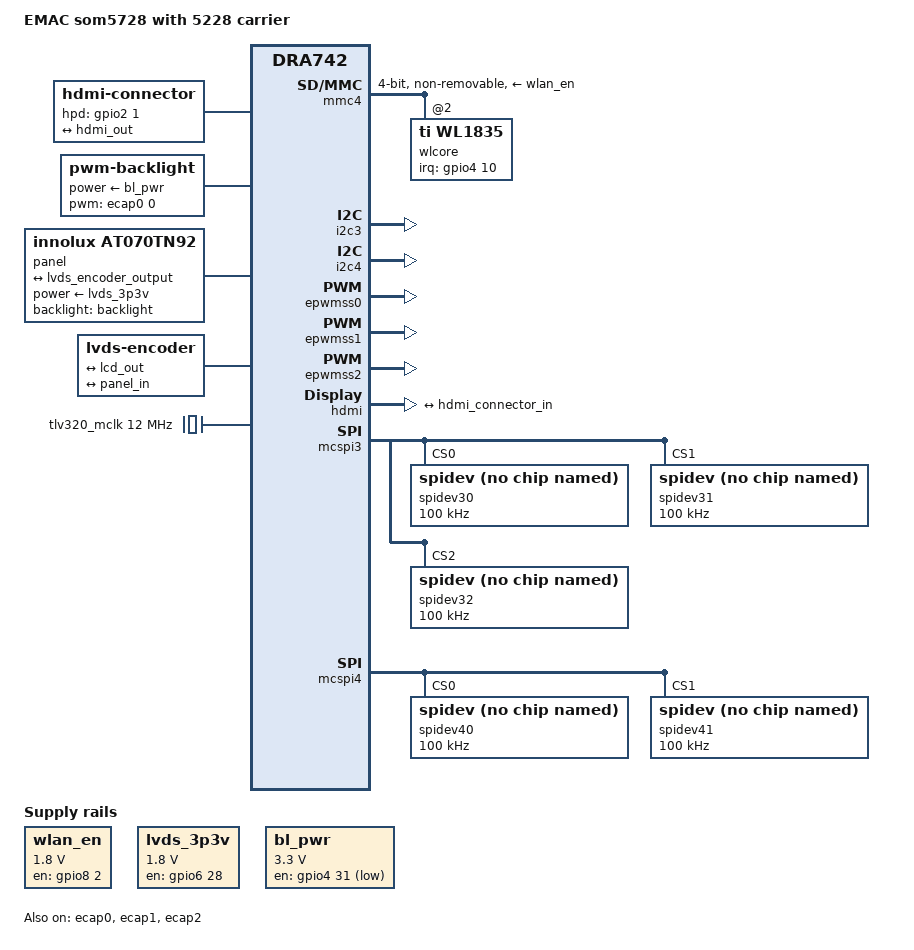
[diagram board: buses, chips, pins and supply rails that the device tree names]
/*
 * Copyright (C) 2014-2016 Texas Instruments Incorporated - http://www.ti.com/
 *
 * This program is free software; you can redistribute it and/or modify
 * it under the terms of the GNU General Public License version 2 as
 * published by the Free Software Foundation.
 */

 
#include "som-5728.dtsi"

/ {
	model = "EMAC som5728 with 5228 carrier";
    compatible = "emac, som5728-5228", "emac,som5728", "ti,am5728-idk", "ti,am5728", "ti,dra742", "ti,dra74", "ti,dra7";
	
    chosen {
		stdout-path = &uart3;
	};
    
	aliases {
		display0 = &panel;
		display1 = &hdmi0;
	};
	
	wlan_en: wlan_en_reg  {
		compatible = "regulator-fixed";
		regulator-name = "wlan-en-regulator";
		regulator-min-microvolt = <1800000>;
		regulator-max-microvolt = <1800000>;
		gpio = <&gpio8 2 GPIO_ACTIVE_HIGH>;

		startup-delay-us = <70000>;
		enable-active-high;
	};

	lvds_3p3v: lvds_3p3v_reg {
		compatible = "regulator-fixed";
		regulator-name = "LVDS 3P3V";
		regulator-min-microvolt = <1800000>;
		regulator-max-microvolt = <1800000>;
		regulator-boot-on;
		enable-active-high;
		gpio = <&gpio6 28 GPIO_ACTIVE_HIGH>;
		};

	bl_pwr: bl_pwr_reg {
		compatible = "regulator-fixed";
		regulator-name = "LVDS ABL";
		regulator-min-microvolt = <3300000>;
		regulator-max-microvolt = <3300000>;
		regulator-boot-on;
		gpio = <&gpio4 31 GPIO_ACTIVE_LOW>;
	};

	hdmi0: connector {
		compatible = "hdmi-connector";
		label = "hdmi";
        hpd-gpios = <&gpio2 1 GPIO_ACTIVE_HIGH>;
		type = "a";
        port {
            hdmi_connector_in: endpoint {
                remote-endpoint = <&hdmi_out>;
            };
        };
	};

	backlight: backlight {
		compatible = "pwm-backlight";
		pwms = <&ecap0 0 50000 0>;
		power-supply = <&bl_pwr>;
		brightness-levels = <0 10 20 30 40 50 60 70 80 90 100>;
		default-brightness-level = <9>;
	};
	
    
    // FIXME lets use the pipe off the gpu
	panel: panel {
		compatible = "innolux,at070tn92", "simple-panel";
		backlight = <&backlight>;
		power-supply = <&lvds_3p3v>;
		port {
			panel_in: endpoint {
				remote-endpoint = <&lvds_encoder_output>;
			};
		};
	};
	
	lvds-encoder {
		compatible = "lvds-encoder";

		ports {
			#address-cells = <1>;
			#size-cells = <0>;

			port@0 {
				reg = <0>;

				lvds_encoder_input: endpoint {
					remote-endpoint = <&lcd_out>;
				};
			};

			port@1 {
				reg = <1>;

				lvds_encoder_output: endpoint {
					remote-endpoint = <&panel_in>;
				};
			};
		};
	};
	
	clocks {
		#address-cells = <1>;
		#size-cells = <0>;

		tlv320_mclk: tlv320_mclk {
			#clock-cells = <0>;
			compatible = "fixed-clock";
			clock-frequency = <12000000>;
			clock-output-names = "mclk";
		};
	};
};


&dra7_pmx_core {
	wlan_pins_default: wlan_pins_default {
		pinctrl-single,pins = <
			DRA7XX_CORE_IOPAD(0x358c, PIN_INPUT | MUX_MODE14)                /* vin2a_d9.gpio4_10 */
			DRA7XX_CORE_IOPAD(0x35e4, PIN_OUTPUT_PULLDOWN | MUX_MODE14)      /* vout1_d2.gpio8_2 */
		>;
	};
};



&mmc4 {
	status = "okay";
	pinctrl-names = "default";
	pinctrl-0 = <&mmc4_pins_default 
                 &mmc4_iodelay_ds_rev20_conf
                 &wlan_pins_default>;
	vqmmc-supply = <&reg_1p8v>;
	vmmc-supply = <&wlan_en>;
	bus-width = <4>;
	cap-power-off-card;
	ti,needs-special-reset;
	non-removable;
	ti,non-removable;
	max-frequency = <1000000>;

	#address-cells = <1>;
	#size-cells = <0>;
	wlcore: wlcore@2 {
		compatible = "ti,wl1835";
		reg = <0x2>;
		interrupt-parent = <&gpio4>;
		interrupts = <10 IRQ_TYPE_LEVEL_HIGH>;
	};
};



// fix FOR THE 5228 UCBC MUX 
// hd3SS3220 -> TI
&i2c3 {	
    status = "okay";
	// fixme 
	// add util header
	// sata socket
	// dsi connector

	
	/*
	hd3ss3220@47 {
        compatible = "ti,hd3ss3220";
        reg = <0x47>;
        interrupt-parent = <&gpio6>;
        interrupts = <3>;
        ports {
            #address-cells = <1>;
            #size-cells = <0>;    
            port@0 {
                reg = <0>;
                hd3ss3220_in_ep: endpoint {
                        remote-endpoint = <&ss_ep>;
                };
            };
                
            port@1 {
                reg = <1>;
                hd3ss3220_out_ep: endpoint {
                    remote-endpoint = <&usb3_role_switch>;
                };
            };
        };
    };
    */
};



&i2c4 {
    status = "okay";
};

&ecap0 {
	status = "okay";
};
&ecap1 {
	status = "okay";
};
&ecap2 {
	status = "okay";
};

&epwmss0 {
	status = "okay";
};
&epwmss1 {
	status = "okay";
};
&epwmss2 {
	status = "okay";
};

&hdmi {
	status = "ok";
	vdda-supply = <&ldo4_reg>;
	port {
        hdmi_out: endpoint {
                remote-endpoint = <&hdmi_connector_in>;
                //lanes = <1 0 3 2 5 4 7 6>;
        };
	};
};


// SPI ADD for the 5228
// SPI3 -> DAC80501
// SPI3 -> MAX11161
&mcspi3 {
    ti,spi-num-cs = <3>;
    spidev30: spi@0 {
        compatible = "emac,spidev";
        reg = <0>;
        spi-max-frequency = <100000>;
    };
    spidev31: spi@1 {
        compatible = "emac,spidev";
        reg = <1>;
        spi-max-frequency = <100000>;
    };
    spidev32: spi@2 {
        compatible = "emac,spidev";
        reg = <2>;
        spi-max-frequency = <100000>;
    };
    
};

&mcspi4 {
    ti,spi-num-cs = <2>;
    spidev40: spi@0 {
        compatible = "emac,spidev";
        reg = <0>;
        spi-max-frequency = <100000>;
    };
    spidev41: spi@1 {
        compatible = "emac,spidev";
        reg = <1>;
        spi-max-frequency = <100000>;
    };
};

